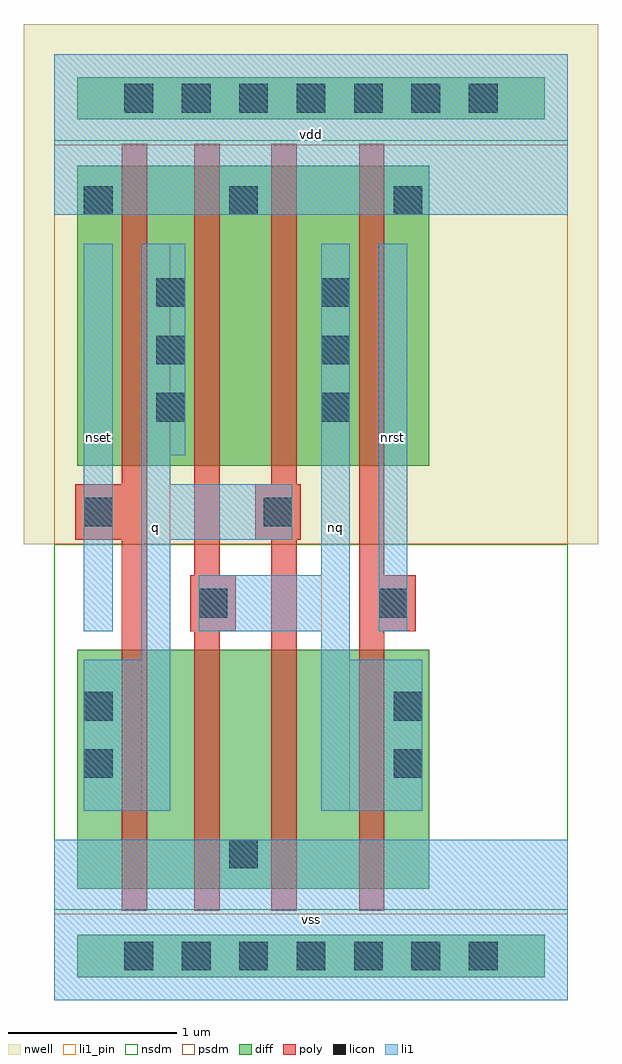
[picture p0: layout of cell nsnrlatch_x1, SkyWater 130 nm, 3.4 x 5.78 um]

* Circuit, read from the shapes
.subckt nsnrlatch_x1 nq nrst nset q vdd vss
XM1 n1 nset q VSUBS sky130_fd_pr__nfet_01v8 w=1.415 l=0.15
XM2 vss nq n1 VSUBS sky130_fd_pr__nfet_01v8 w=1.415 l=0.15
XM3 n2 q vss VSUBS sky130_fd_pr__nfet_01v8 w=1.415 l=0.15
XM4 nq nrst n2 VSUBS sky130_fd_pr__nfet_01v8 w=1.415 l=0.15
XM5 q nset vdd n3 sky130_fd_pr__pfet_01v8 w=1.775 l=0.15
XM6 vdd nq q n3 sky130_fd_pr__pfet_01v8 w=1.775 l=0.15
XM7 nq q vdd n3 sky130_fd_pr__pfet_01v8 w=1.775 l=0.15
XM8 vdd nrst nq n3 sky130_fd_pr__pfet_01v8 w=1.775 l=0.15
.ends

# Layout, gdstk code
import gdstk
lib = gdstk.Library(unit=1e-6, precision=1e-09)
def R(c, l, rs):  # rectangles x0, y0, x1, y1
    for r in rs: c.add(gdstk.rectangle(r[:2], r[2:], *l))
def A(c, l, x, y, w, h, nx, ny, dx, dy):  # array of equal rectangles
    R(c, l, [(x+i*dx, y+j*dy, x+i*dx+w, y+j*dy+h) for i in range(nx) for j in range(ny)])
def P(c, l, *ps):  # polygons
    for p in ps: c.add(gdstk.Polygon(p, *l))
nwell = (64, 20)
diff = (65, 20)
poly = (66, 20)
licon = (66, 44)
li1_pin = (67, 16)
li1 = (67, 20)
nsdm = (93, 44)
psdm = (94, 20)

nsnrlatch_x1 = lib.new_cell('nsnrlatch_x1')
R(nsnrlatch_x1, nwell, [(-0.18,2.7,3.22,5.78)])
R(nsnrlatch_x1, diff, [(0.135,0.135,2.905,0.385), (0.135,0.66,2.22,2.075), (0.135,3.165,2.22,4.94), (0.135,5.215,2.905,5.465)])
R(nsnrlatch_x1, poly, [(0.905,2.185,0.94,2.515), (1.88,2.185,2.005,2.515)])
P(nsnrlatch_x1, poly, [(1.285,0.53),(1.285,2.725),(1.19,2.725),(1.19,3.055),(1.285,3.055),(1.285,5.07),(1.435,5.07),(1.435,3.055),(1.46,3.055),(1.46,2.725),(1.435,2.725),(1.435,0.53)],
  [(0.4,0.53),(0.4,2.725),(0.125,2.725),(0.125,3.055),(0.4,3.055),(0.4,5.07),(0.55,5.07),(0.55,0.53)],
  [(0.83,0.53),(0.83,2.185),(0.805,2.185),(0.805,2.515),(0.83,2.515),(0.83,5.07),(0.98,5.07),(0.98,2.515),(1.075,2.515),(1.075,2.185),(0.98,2.185),(0.98,0.53)],
  [(1.805,0.53),(1.805,5.07),(1.955,5.07),(1.955,2.515),(2.14,2.515),(2.14,2.185),(1.955,2.185),(1.955,0.53)])
A(nsnrlatch_x1, licon, 0.415, 0.175, 0.17, 0.17, 7, 2, 0.34, 5.08)
A(nsnrlatch_x1, licon, 0.605, 3.425, 0.17, 0.17, 1, 3, 0, 0.34)
A(nsnrlatch_x1, licon, 1.58, 3.425, 0.17, 0.17, 1, 3, 0, 0.34)
R(nsnrlatch_x1, licon, [(1.035,0.78,1.205,0.95), (0.175,1.315,0.345,1.485), (2.01,1.315,2.18,1.485), (0.175,1.655,0.345,1.825), (2.01,1.655,2.18,1.825), (0.855,2.265,1.025,2.435), (1.92,2.265,2.09,2.435), (0.175,2.805,0.345,2.975), (1.24,2.805,1.41,2.975), (0.175,4.65,0.345,4.82), (1.035,4.65,1.205,4.82), (2.01,4.65,2.18,4.82)])
R(nsnrlatch_x1, li1_pin, [(0,0,3.04,0.95), (0.515,1.12,0.685,4.48), (1.58,1.12,1.75,4.48), (0.175,2.185,0.345,4.48), (1.92,2.185,2.09,4.48), (0,4.65,3.04,5.6)])
R(nsnrlatch_x1, li1, [(0,0,3.04,0.95), (0.175,2.185,0.345,4.48), (1.92,2.185,2.09,4.48), (0,4.65,3.04,5.6)])
P(nsnrlatch_x1, li1, [(0.175,1.12),(0.175,2.015),(0.515,2.015),(0.515,4.48),(0.775,4.48),(0.775,3.225),(0.685,3.225),(0.685,3.055),(1.41,3.055),(1.41,2.725),(0.685,2.725),(0.685,1.12)],
  [(1.58,1.12),(1.58,2.185),(0.855,2.185),(0.855,2.515),(1.58,2.515),(1.58,4.48),(1.75,4.48),(1.75,2.015),(2.18,2.015),(2.18,1.12)])
R(nsnrlatch_x1, nsdm, [(0,0.535,3.04,2.7), (0,5.09,3.04,5.6)])
R(nsnrlatch_x1, psdm, [(0,0,3.04,0.51), (0,2.7,3.04,5.065)])
nsnrlatch_x1.add(gdstk.Label('q', (0.6,2.8), layer=67, texttype=16))
nsnrlatch_x1.add(gdstk.Label('vdd', (1.52,5.125), layer=67, texttype=16))
nsnrlatch_x1.add(gdstk.Label('vss', (1.52,0.475), layer=67, texttype=16))
nsnrlatch_x1.add(gdstk.Label('nset', (0.26,3.332), layer=67, texttype=16))
nsnrlatch_x1.add(gdstk.Label('nq', (1.665,2.8), layer=67, texttype=16))
nsnrlatch_x1.add(gdstk.Label('nrst', (2.005,3.332), layer=67, texttype=16))

lib.write_gds('nsnrlatch_x1.gds')
